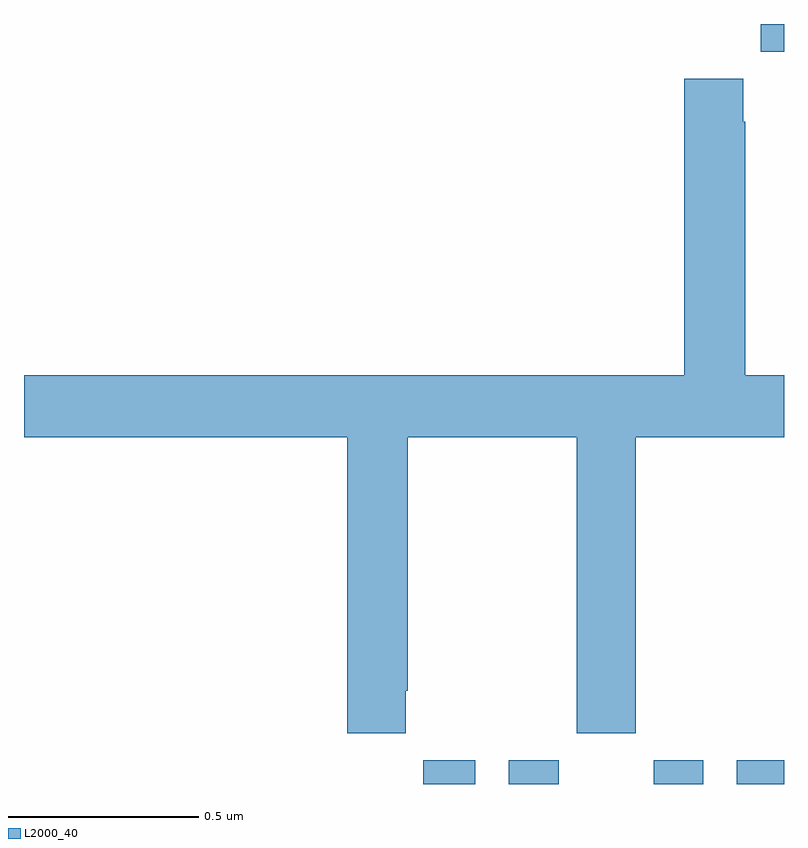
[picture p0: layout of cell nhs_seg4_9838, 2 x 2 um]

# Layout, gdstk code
import gdstk
lib = gdstk.Library(unit=1e-6, precision=1e-09)
def R(c, l, rs):  # rectangles x0, y0, x1, y1
    for r in rs: c.add(gdstk.rectangle(r[:2], r[2:], *l))
def P(c, l, *ps):  # polygons
    for p in ps: c.add(gdstk.Polygon(p, *l))
L2000_40 = (2000, 40)

nhs_seg4_9838 = lib.new_cell('nhs_seg4_9838')
R(nhs_seg4_9838, L2000_40, [(233.051,803.9,233.188,803.962), (233.276,803.9,233.407,803.962), (233.657,803.9,233.788,803.962), (233.876,803.9,234,803.962), (233.939,805.827,234,805.9)])
P(nhs_seg4_9838, L2000_40, [(233.005,804.145),(233.01,804.145),(233.01,804.812),(233.455,804.812),(233.455,804.033),(233.61,804.033),(233.61,804.812),(234,804.812),(234,804.976),(233.898,804.976),(233.898,805.643),(233.893,805.643),(233.893,805.756),(233.738,805.756),(233.738,804.976),(232,804.976),(232,804.812),(232.85,804.812),(232.85,804.033),(233.005,804.033)])

lib.write_gds('nhs_seg4_9838.gds')
